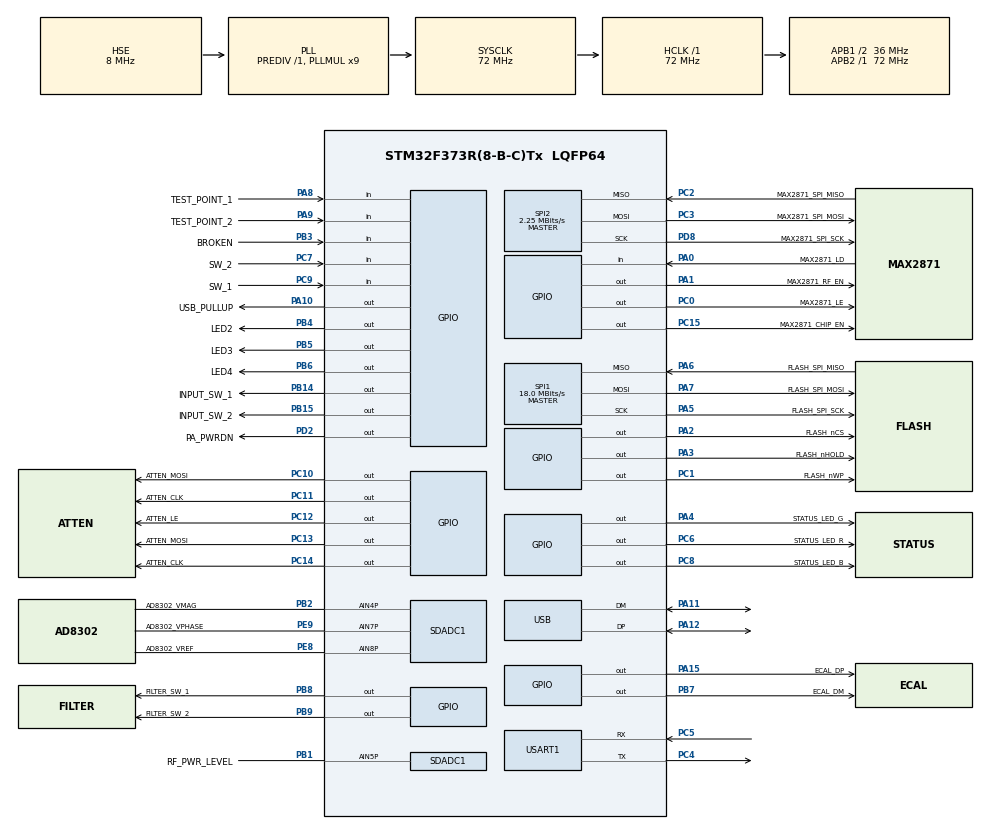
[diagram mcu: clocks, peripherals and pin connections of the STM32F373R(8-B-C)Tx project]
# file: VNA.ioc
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Mcu.Family=STM32F3
Mcu.Name=STM32F373R(8-B-C)Tx
Mcu.Package=LQFP64
NVIC.PriorityGroup=NVIC_PRIORITYGROUP_4
NVIC.USB_LP_IRQn=true\:0\:0\:false\:false\:true\:false\:true
PA0.GPIO_Label=MAX2871_LD
PA0.Signal=GPIO_Input
PA1.GPIO_Label=MAX2871_RF_EN
PA1.Signal=GPIO_Output
PA10.GPIO_Label=USB_PULLUP
PA10.Signal=GPIO_Output
PA11.Mode=Device
PA11.Signal=USB_DM
PA12.Mode=Device
PA12.Signal=USB_DP
PA13.GPIO_Label=SWD_IO
PA13.Mode=Serial_Wire
PA13.Signal=SYS_JTMS-SWDIO
PA14.GPIO_Label=SWD_CLK
PA14.Mode=Serial_Wire
PA14.Signal=SYS_JTCK-SWCLK
PA15.GPIO_Label=ECAL_DP
PA15.Signal=GPIO_Output
PA2.GPIO_Label=FLASH_nCS
PA2.Signal=GPIO_Output
PA3.GPIO_Label=FLASH_nHOLD
PA3.Signal=GPIO_Output
PA4.GPIO_Label=STATUS_LED_G
PA4.Signal=GPIO_Output
PA5.GPIO_Label=FLASH_SPI_SCK
PA5.Mode=Full_Duplex_Master
PA5.Signal=SPI1_SCK
PA6.GPIO_Label=FLASH_SPI_MISO
PA6.Mode=Full_Duplex_Master
PA6.Signal=SPI1_MISO
PA7.GPIO_Label=FLASH_SPI_MOSI
PA7.Mode=Full_Duplex_Master
PA7.Signal=SPI1_MOSI
PA8.GPIO_Label=TEST_POINT_1
PA8.Signal=GPIO_Input
PA9.GPIO_Label=TEST_POINT_2
PA9.Signal=GPIO_Input
PB1.GPIO_Label=RF_PWR_LEVEL
PB1.Mode=IN5-Single-Ended
PB1.Signal=SDADC1_AIN5P
PB14.GPIO_Label=INPUT_SW_1
PB14.Signal=GPIO_Output
PB15.GPIO_Label=INPUT_SW_2
PB15.Signal=GPIO_Output
PB2.GPIO_Label=AD8302_VMAG
PB2.Mode=IN4-Single-Ended
PB2.Signal=SDADC1_AIN4P
PB3.GPIO_Label=BROKEN
PB3.Signal=GPIO_Input
PB4.GPIO_Label=LED2
PB4.Signal=GPIO_Output
PB5.GPIO_Label=LED3
PB5.Signal=GPIO_Output
PB6.GPIO_Label=LED4
PB6.Signal=GPIO_Output
PB7.GPIO_Label=ECAL_DM
PB7.Signal=GPIO_Output
PB8.GPIO_Label=FILTER_SW_1
PB8.Signal=GPIO_Output
PB9.GPIO_Label=FILTER_SW_2
PB9.Signal=GPIO_Output
PC0.GPIO_Label=MAX2871_LE
PC0.Signal=GPIO_Output
PC1.GPIO_Label=FLASH_nWP
PC1.Signal=GPIO_Output
PC10.GPIO_Label=ATTEN_MOSI
PC10.Signal=GPIO_Output
PC11.GPIO_Label=ATTEN_CLK
PC11.Signal=GPIO_Output
PC12.GPIO_Label=ATTEN_LE
PC12.Signal=GPIO_Output
PC13.GPIO_Label=ATTEN_MOSI
PC13.Signal=GPIO_Output
PC14-OSC32_IN.GPIO_Label=ATTEN_CLK
PC14-OSC32_IN.Signal=GPIO_Output
PC15-OSC32_OUT.GPIO_Label=MAX2871_CHIP_EN
PC15-OSC32_OUT.Signal=GPIO_Output
PC2.GPIO_Label=MAX2871_SPI_MISO
PC2.GPIO_Speed=GPIO_SPEED_FREQ_LOW
PC2.Mode=Full_Duplex_Master
PC2.Signal=SPI2_MISO
PC3.GPIO_Label=MAX2871_SPI_MOSI
PC3.GPIO_Speed=GPIO_SPEED_FREQ_LOW
PC3.Mode=Full_Duplex_Master
PC3.Signal=SPI2_MOSI
PC4.Mode=Asynchronous
PC4.Signal=USART1_TX
PC5.Mode=Asynchronous
PC5.Signal=USART1_RX
PC6.GPIO_Label=STATUS_LED_R
PC6.Signal=GPIO_Output
PC7.GPIO_Label=SW_2
PC7.Signal=GPIO_Input
PC8.GPIO_Label=STATUS_LED_B
PC8.Signal=GPIO_Output
PC9.GPIO_Label=SW_1
PC9.Signal=GPIO_Input
PD2.GPIO_Label=PA_PWRDN
PD2.Signal=GPIO_Output
PD8.GPIO_Label=MAX2871_SPI_SCK
PD8.GPIO_Speed=GPIO_SPEED_FREQ_LOW
PD8.Mode=Full_Duplex_Master
PD8.Signal=SPI2_SCK
PE8.GPIO_Label=AD8302_VREF
PE8.Mode=IN8-Single-Ended
PE8.Signal=SDADC1_AIN8P
PE9.GPIO_Label=AD8302_VPHASE
PE9.Mode=IN7-Single-Ended
PE9.Signal=SDADC1_AIN7P
PF0-OSC_IN.Mode=HSE-External-Oscillator
PF0-OSC_IN.Signal=RCC_OSC_IN
PF1-OSC_OUT.Mode=HSE-External-Oscillator
PF1-OSC_OUT.Signal=RCC_OSC_OUT
ProjectManager.HeapSize=0x200
ProjectManager.StackSize=0x400
ProjectManager.TargetToolchain=SW4STM32
RCC.AHBFreq_Value=72000000
RCC.APB1CLKDivider=RCC_HCLK_DIV2
RCC.APB1Freq_Value=36000000
RCC.APB1TimFreq_Value=72000000
RCC.APB2Freq_Value=72000000
RCC.APB2TimFreq_Value=72000000
RCC.CortexFreq_Value=72000000
RCC.HCLKFreq_Value=72000000
RCC.HSE_VALUE=8000000
RCC.HSI_VALUE=8000000
RCC.LSE_VALUE=32768
RCC.PLLMUL=RCC_PLL_MUL9
RCC.PRESCALERUSB=RCC_USBCLKSOURCE_PLL_DIV1_5
RCC.SDADCPresc=RCC_SDADCSYSCLK_DIV12
RCC.SYSCLKFreq_VALUE=72000000
RCC.SYSCLKSource=RCC_SYSCLKSOURCE_PLLCLK
RCC.USBFreq_Value=48000000
SDADC1.ContinuousMode=SDADC_CONTINUOUS_CONV_OFF
SDADC1.EnableInjectedConversion=ENABLE
SDADC1.EnableRegularconversion=ENABLE
SDADC1.Gain0=SDADC_GAIN_1_2
SDADC1.InjDelay=Disable
SDADC1.InjNumberOfConversion=4
SDADC1.InjectedChannel-4\#ChannelInjectedConversion=SDADC_CHANNEL_4
SDADC1.InjectedChannel-5\#ChannelInjectedConversion=SDADC_CHANNEL_5
SDADC1.InjectedChannel-6\#ChannelInjectedConversion=SDADC_CHANNEL_7
SDADC1.InjectedChannel-7\#ChannelInjectedConversion=SDADC_CHANNEL_8
SDADC1.InjectedChannelsSelection=SDADC_CHANNEL_4|SDADC_CHANNEL_5|SDADC_CHANNEL_7|SDADC_CHANNEL_8
SDADC1.InjectedConfIndex-4\#ChannelInjectedConversion=SDADC_CONF_INDEX_0
SDADC1.InjectedConfIndex-5\#ChannelInjectedConversion=SDADC_CONF_INDEX_0
SDADC1.InjectedConfIndex-6\#ChannelInjectedConversion=SDADC_CONF_INDEX_0
SDADC1.InjectedConfIndex-7\#ChannelInjectedConversion=SDADC_CONF_INDEX_0
SDADC1.InjectedContinuousMode=SDADC_CONTINUOUS_CONV_ON
SDADC1.InjectedRank-4\#ChannelInjectedConversion=1
SDADC1.InjectedRank-5\#ChannelInjectedConversion=2
SDADC1.InjectedRank-6\#ChannelInjectedConversion=3
SDADC1.InjectedRank-7\#ChannelInjectedConversion=4
SDADC1.InputMode0=SDADC_INPUT_MODE_SE_OFFSET
SDADC1.NbrOfConversionFlag=1
SDADC1.ReferenceVoltage=SDADC_VREF_EXT
SPI1.BaudRatePrescaler=SPI_BAUDRATEPRESCALER_4
SPI1.CalculateBaudRate=18.0 MBits/s
SPI1.Direction=SPI_DIRECTION_2LINES
SPI1.Mode=SPI_MODE_MASTER
SPI1.VirtualType=VM_MASTER
SPI2.BaudRatePrescaler=SPI_BAUDRATEPRESCALER_16
SPI2.CalculateBaudRate=2.25 MBits/s
SPI2.DataSize=SPI_DATASIZE_8BIT
SPI2.Direction=SPI_DIRECTION_2LINES
SPI2.Mode=SPI_MODE_MASTER
SPI2.VirtualType=VM_MASTER
USART1.VirtualMode-Asynchronous=VM_ASYNC
USB_DEVICE.CLASS_NAME_FS=CDC
USB_DEVICE.CONFIGURATION_STRING_CDC_FS=VNA
USB_DEVICE.INTERFACE_STRING_CDC_FS=VNA
USB_DEVICE.MANUFACTURER_STRING=JOSH JOHNSON
USB_DEVICE.PID_CDC_FS=0xBEEF
USB_DEVICE.PRODUCT_STRING_CDC_FS=VNA
USB_DEVICE.VID=0xDEAD
USB_DEVICE.VirtualMode=Cdc
USB_DEVICE.VirtualModeFS=Cdc_FS
VP_SDADC1_CONF0.Mode=ConfigZero
VP_USB_DEVICE_VS_USB_DEVICE_CDC_FS.Mode=CDC_FS
board=custom

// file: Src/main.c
/* USER CODE BEGIN Header */
/**
  ******************************************************************************
  * @file           : main.c
  * @brief          : Main program body
  ******************************************************************************
  * This notice applies to any and all portions of this file
  * that are not between comment pairs USER CODE BEGIN and
  * USER CODE END. Other portions of this file, whether
  * inserted by the user or by software development tools
  * are owned by their respective copyright owners.
  *
  * Copyright (c) 2019 STMicroelectronics International N.V.
  * All rights reserved.
  *
  * Redistribution and use in source and binary forms, with or without
  * modification, are permitted, provided that the following conditions are met:
  *
  * 1. Redistribution of source code must retain the above copyright notice,
  *    this list of conditions and the following disclaimer.
  * 2. Redistributions in binary form must reproduce the above copyright notice,
  *    this list of conditions and the following disclaimer in the documentation
  *    and/or other materials provided with the distribution.
  * 3. Neither the name of STMicroelectronics nor the names of other
  *    contributors to this software may be used to endorse or promote products
  *    derived from this software without specific written permission.
  * 4. This software, including modifications and/or derivative works of this
  *    software, must execute solely and exclusively on microcontroller or
  *    microprocessor devices manufactured by or for STMicroelectronics.
  * 5. Redistribution and use of this software other than as permitted under
  *    this license is void and will automatically terminate your rights under
  *    this license.
  *
  * THIS SOFTWARE IS PROVIDED BY STMICROELECTRONICS AND CONTRIBUTORS "AS IS"
  * AND ANY EXPRESS, IMPLIED OR STATUTORY WARRANTIES, INCLUDING, BUT NOT
  * LIMITED TO, THE IMPLIED WARRANTIES OF MERCHANTABILITY, FITNESS FOR A
  * PARTICULAR PURPOSE AND NON-INFRINGEMENT OF THIRD PARTY INTELLECTUAL PROPERTY
  * RIGHTS ARE DISCLAIMED TO THE FULLEST EXTENT PERMITTED BY LAW. IN NO EVENT
  * SHALL STMICROELECTRONICS OR CONTRIBUTORS BE LIABLE FOR ANY DIRECT, INDIRECT,
  * INCIDENTAL, SPECIAL, EXEMPLARY, OR CONSEQUENTIAL DAMAGES (INCLUDING, BUT NOT
  * LIMITED TO, PROCUREMENT OF SUBSTITUTE GOODS OR SERVICES; LOSS OF USE, DATA,
  * OR PROFITS; OR BUSINESS INTERRUPTION) HOWEVER CAUSED AND ON ANY THEORY OF
  * LIABILITY, WHETHER IN CONTRACT, STRICT LIABILITY, OR TORT (INCLUDING
  * NEGLIGENCE OR OTHERWISE) ARISING IN ANY WAY OUT OF THE USE OF THIS SOFTWARE,
  * EVEN IF ADVISED OF THE POSSIBILITY OF SUCH DAMAGE.
  *
  ******************************************************************************
  */
/* USER CODE END Header */

#include "main.h"
#include "sdadc.h"
#include "spi.h"
#include "usart.h"
#include "usb_device.h"
#include "gpio.h"

/* USER CODE BEGIN Includes */
#include <stdio.h>
#include <string.h>
#include "usbd_cdc_if.h"
#include "dwt_stm32_delay.h"
#include "debug.h"
#include "errorHandling.h"
#include "max2871_registers.h"
#include "max2871.h"
#include "txChain.h"
#include "receiver.h"
#include "commandParser.h"

/* USER CODE END Includes */

/* USER CODE BEGIN PTD */
FIFO RX_FIFO = {.head = 0, .tail = 0};

extern struct MAX2871Struct max2871Status;
extern struct txStruct txStatus;
extern struct receiverStruct receiverStatus;

/* USER CODE END PTD */

void SystemClock_Config(void);

int main(void)
{

  /* MCU Configuration--------------------------------------------------------*/

  /* Reset of all peripherals, Initializes the Flash interface and the Systick. */
  HAL_Init();

  /* Configure the system clock */
  SystemClock_Config();

  /* Initialize all configured peripherals */
  MX_GPIO_Init();
  MX_SPI1_Init();
  MX_SDADC1_Init();
  MX_USART1_UART_Init();
  MX_SPI2_Init();
  MX_USB_DEVICE_Init();
  /* USER CODE BEGIN 2 */
  DWT_Delay_Init();
  // Ensure status LED starts OFF
  statusThinking();
  // Cycle USB_PU to ensure re-enumeration on soft restart
  HAL_GPIO_WritePin(USB_PULLUP_GPIO_Port,USB_PULLUP_Pin,0);
  HAL_Delay(100);
  HAL_GPIO_WritePin(USB_PULLUP_GPIO_Port,USB_PULLUP_Pin,1);
  HAL_Delay(100);

  // Clear UART terminal, then print status
  printUSB((uint8_t *) "\033[2J");

  // Calibrate SDADC
  if (HAL_SDADC_CalibrationStart(&hsdadc1,SDADC_CALIBRATION_SEQ_2) != HAL_OK)
  {
	  statusFucked((uint8_t *)"> SDADC Cal could not begin\r\n");
	  while (1);
  }

  while (HAL_SDADC_PollForCalibEvent(&hsdadc1, HAL_MAX_DELAY) != HAL_OK)
  {
	  statusThinking();
	  DWT_Delay_us(100);
  }

  // Start SDADC
  HAL_SDADC_InjectedStart(&hsdadc1);

  // Init TX Chain
  txChainInit(&max2871Status, &txStatus);

  statusNominal();

  /* USER CODE END 2 */

  /* Infinite loop */
  /* USER CODE BEGIN WHILE */
  while (1)
  {

	  // Command Parser
	  if (RX_FIFO.dataReady == 1)
	  {
		  commandParser(&max2871Status, &txStatus, &receiverStatus);
	  }

	  if (HAL_GPIO_ReadPin(SW_1_GPIO_Port, SW_1_Pin))
	  {
		  sweep(25,1000,100,-10,5, &max2871Status, &txStatus);
	  }

	  if (HAL_GPIO_ReadPin(SW_2_GPIO_Port, SW_2_Pin))
	  {
		  sigGen(30,-15,&max2871Status, &txStatus);
	  }

    /* USER CODE END WHILE */

  }
}

void SystemClock_Config(void)
{
  RCC_OscInitTypeDef RCC_OscInitStruct = {0};
  RCC_ClkInitTypeDef RCC_ClkInitStruct = {0};
  RCC_PeriphCLKInitTypeDef PeriphClkInit = {0};

  /** Initializes the CPU, AHB and APB busses clocks
  */
  RCC_OscInitStruct.OscillatorType = RCC_OSCILLATORTYPE_HSE;
  RCC_OscInitStruct.HSEState = RCC_HSE_ON;
  RCC_OscInitStruct.HSEPredivValue = RCC_HSE_PREDIV_DIV1;
  RCC_OscInitStruct.HSIState = RCC_HSI_ON;
  RCC_OscInitStruct.PLL.PLLState = RCC_PLL_ON;
  RCC_OscInitStruct.PLL.PLLSource = RCC_PLLSOURCE_HSE;
  RCC_OscInitStruct.PLL.PLLMUL = RCC_PLL_MUL9;
  if (HAL_RCC_OscConfig(&RCC_OscInitStruct) != HAL_OK)
  {
    Error_Handler();
  }
  /** Initializes the CPU, AHB and APB busses clocks
  */
  RCC_ClkInitStruct.ClockType = RCC_CLOCKTYPE_HCLK|RCC_CLOCKTYPE_SYSCLK
                              |RCC_CLOCKTYPE_PCLK1|RCC_CLOCKTYPE_PCLK2;
  RCC_ClkInitStruct.SYSCLKSource = RCC_SYSCLKSOURCE_PLLCLK;
  RCC_ClkInitStruct.AHBCLKDivider = RCC_SYSCLK_DIV1;
  RCC_ClkInitStruct.APB1CLKDivider = RCC_HCLK_DIV2;
  RCC_ClkInitStruct.APB2CLKDivider = RCC_HCLK_DIV1;

  if (HAL_RCC_ClockConfig(&RCC_ClkInitStruct, FLASH_LATENCY_2) != HAL_OK)
  {
    Error_Handler();
  }
  PeriphClkInit.PeriphClockSelection = RCC_PERIPHCLK_USB|RCC_PERIPHCLK_USART1
                              |RCC_PERIPHCLK_SDADC;
  PeriphClkInit.Usart1ClockSelection = RCC_USART1CLKSOURCE_PCLK2;
  PeriphClkInit.USBClockSelection = RCC_USBCLKSOURCE_PLL_DIV1_5;
  PeriphClkInit.SdadcClockSelection = RCC_SDADCSYSCLK_DIV12;
  if (HAL_RCCEx_PeriphCLKConfig(&PeriphClkInit) != HAL_OK)
  {
    Error_Handler();
  }
  HAL_PWREx_EnableSDADC(PWR_SDADC_ANALOG1);
}

void Error_Handler(void)
{
}

/************************ (C) COPYRIGHT STMicroelectronics *****END OF FILE****/
